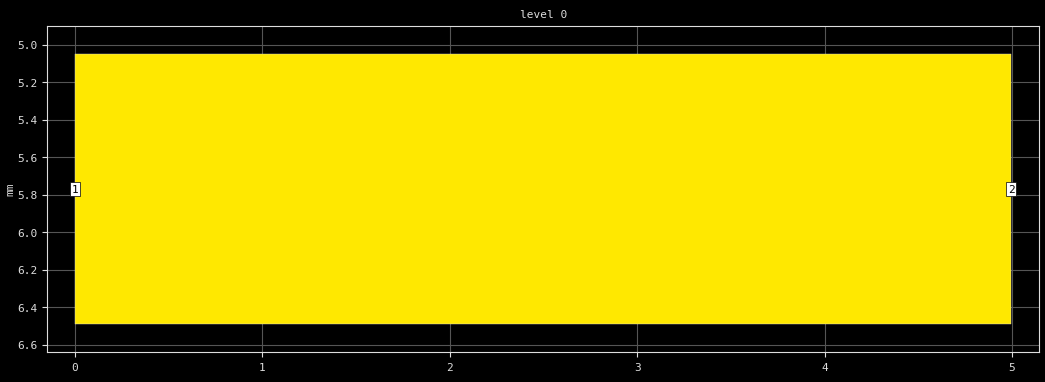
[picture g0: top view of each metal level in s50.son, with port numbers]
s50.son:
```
FTYP SONPROJ 19 ! Sonnet Project File
VER "18.53"
HEADER
LIC sonnetexample.0000
DAT 05/12/2021 21:10:32
BUILT_BY_CREATED example "18.53" 10/19/2021 01:59:07
BUILT_BY_SAVED example "18.53"
MDATE 10/25/2012 09:57:53
HDATE 10/25/2012 09:57:53
EXF
END HEADER
DIM
ANG DEG
CAP PF
CON /OH
FREQ GHZ
IND NH
LNG MM
RES OH
END DIM
CONTROL
VARSWP
OPTIONS  -d
SPEED 0
SUBSPLAM N 100
CACHE_ABS 1
Q_ACC N
END CONTROL
GEO
SYM
TMET "Lossless" 0 SUP 0 0 0 0
BMET "Lossless" 0 SUP 0 0 0 0
BOX 1 4.996541 11.539117 256 256 100 0
      0.5 1 1 0 0 0 2 "Air"
      0.5 1 1 0 0 0 2 "Air"
LORGN 0 11.539117 U 
POR1 STD
POLY 9 1
3
1 50 0 0 0 0 5.7695584 
POR1 STD
POLY 9 1
1
2 50 0 0 0 4.996541 5.7695584 
NUM 1
0 5 -1 N 9 1 1 100 100 0 0 0 Y
0 5.0483636
4.996541 5.0483636
4.996541 6.4907532
0 6.4907532
0 5.0483636
END
END GEO
OPT
MAX 100
END OPT
VARSWP
ENABLED Y
FREQ Y AN SWEEP 15.0
END
END VARSWP
```
